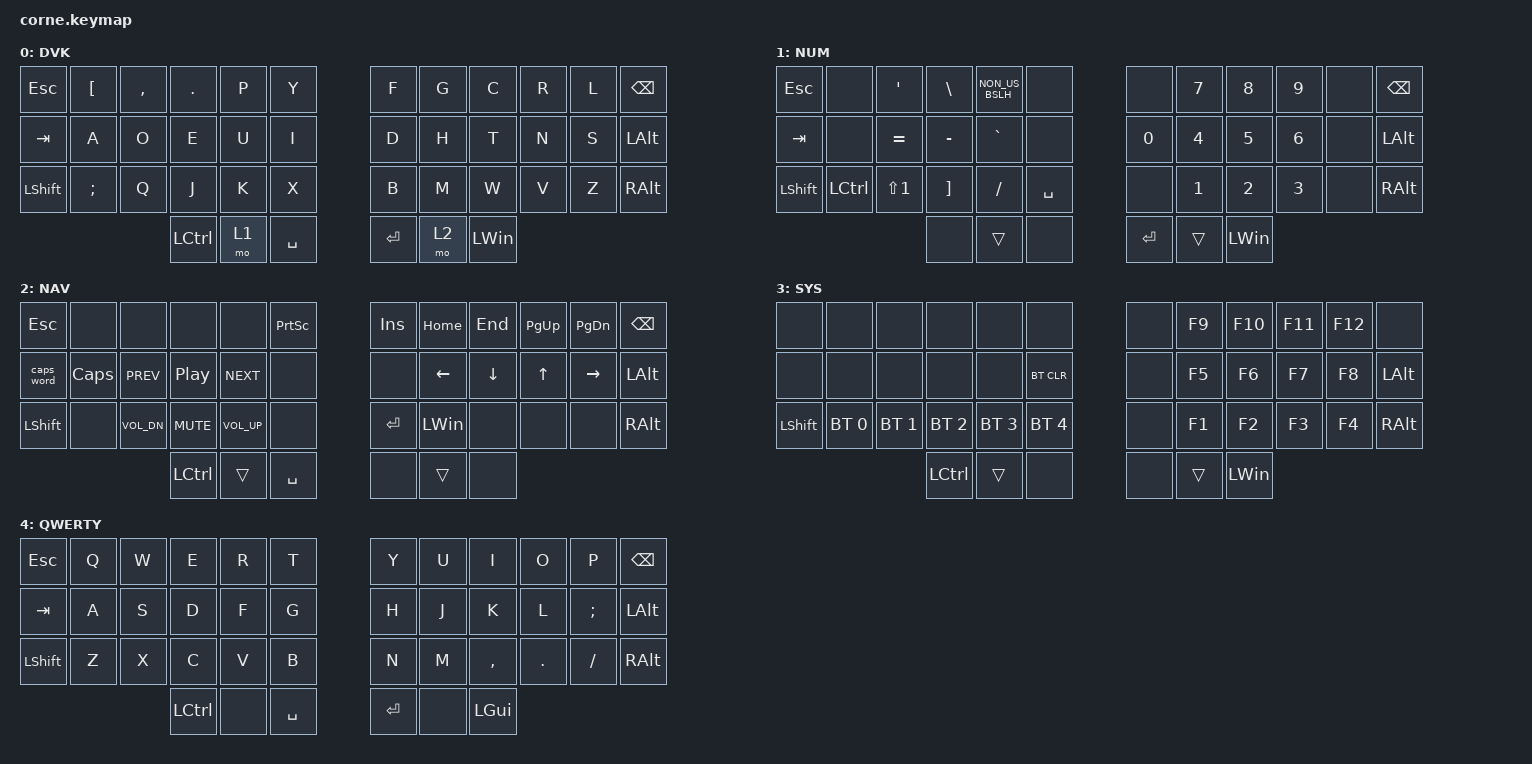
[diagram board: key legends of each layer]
/*
 * Copyright (c) 2020 The ZMK Contributors
 *
 * SPDX-License-Identifier: MIT
 */

#include <behaviors.dtsi>
#include <dt-bindings/zmk/bt.h>
#include <dt-bindings/zmk/keys.h>

/ {
    macros {
        backtick_macro: backtick_macro {
            compatible = "zmk,behavior-macro";
            #binding-cells = <0>;
            bindings = <&kp RA(BACKSLASH) &kp SPACE>;
            label = "BACKTICK_MACRO";
        };

        potencia_macro: potencia_macro {
            compatible = "zmk,behavior-macro";
            #binding-cells = <0>;
            bindings = <&kp RA(SINGLE_QUOTE) &kp SPACE>;
            label = "POTENCIA_MACRO";
        };
    };

    combos {
        compatible = "zmk,combos";

        RESET_SYS {
            bindings = <&sys_reset>;
            key-positions = <0 11>;
            layers = <3>;
        };

        CLR_ALL_BT {
            bindings = <&bt BT_CLR_ALL>;
            key-positions = <5 6>;
            layers = <3>;
        };

        qwerty {
            bindings = <&to 4>;
            key-positions = <38 39>;
            layers = <3>;
        };

        DVORAK {
            bindings = <&to 0>;
            key-positions = <37 40>;
            layers = <4>;
        };
    };

    keymap {
        compatible = "zmk,keymap";

        Dvorak {
            // -----------------------------------------------------------------------------------------
            // |  TAB |  Q  |  W  |  E  |  R  |  T  |   |  Y  |  U   |  I  |  O  |  P  | BSPC |
            // | CTRL |  A  |  S  |  D  |  F  |  G  |   |  H  |  J   |  K  |  L  |  ;  |  '   |
            // | SHFT |  Z  |  X  |  C  |  V  |  B  |   |  N  |  M   |  ,  |  .  |  /  | ESC  |
            //                    | GUI | LWR | SPC |   | ENT | RSE  | ALT |

            bindings = <
&kp ESCAPE  &kp LEFT_BRACKET  &kp COMMA  &kp DOT    &kp P  &kp Y        &kp F    &kp G  &kp C         &kp R  &kp L  &kp BACKSPACE
&kp TAB     &kp A             &kp O      &kp E      &kp U  &kp I        &kp D    &kp H  &kp T         &kp N  &kp S  &kp LEFT_ALT
&kp LSHFT   &kp SEMI          &kp Q      &kp J      &kp K  &kp X        &kp B    &kp M  &kp W         &kp V  &kp Z  &kp RIGHT_ALT
                                         &kp LCTRL  &mo 1  &kp SPACE    &kp RET  &mo 2  &kp LEFT_WIN
            >;

            label = "DVK";
        };

        numbers {
            // -----------------------------------------------------------------------------------------
            // |  TAB |  1  |  2  |  3  |  4  |  5  |   |  6  |  7  |  8  |  9  |  0  | BSPC |
            // | BTCLR| BT1 | BT2 | BT3 | BT4 | BT5 |   | LFT | DWN |  UP | RGT |     |      |
            // | SHFT |     |     |     |     |     |   |     |     |     |     |     |      |
            //                    | GUI |     | SPC |   | ENT |     | ALT |

            bindings = <
&kp ESCAPE  &none      &kp SQT           &kp BACKSLASH      &kp NON_US_BSLH  &none        &none    &kp N7  &kp N8        &kp N9        &none  &kp BACKSPACE
&kp TAB     &none      &kp EQUAL         &kp MINUS          &kp GRAVE        &none        &kp N0   &kp N4  &kp N5        &kp NUMBER_6  &none  &kp LEFT_ALT
&kp LSHFT   &kp LCTRL  &kp LS(NUMBER_1)  &kp RIGHT_BRACKET  &kp SLASH        &kp SPACE    &none    &kp N1  &kp N2        &kp N3        &none  &kp RIGHT_ALT
                                         &none              &trans           &none        &kp RET  &trans  &kp LEFT_WIN
            >;

            label = "NUM";
        };

        nav_media {
            // -----------------------------------------------------------------------------------------
            // |  TAB |  !  |  @  |  #  |  $  |  %  |   |  ^  |  &  |  *  |  (  |  )  | BSPC |
            // | CTRL |     |     |     |     |     |   |  -  |  =  |  [  |  ]  |  \  |  `   |
            // | SHFT |     |     |     |     |     |   |  _  |  +  |  {  |  }  | "|" |  ~   |
            //                    | GUI |     | SPC |   | ENT |     | ALT |

            bindings = <
&kp ESCAPE  &none         &none         &none             &none            &kp PRINTSCREEN    &kp INS    &kp HOME      &kp END         &kp PAGE_UP   &kp PAGE_DOWN  &kp BACKSPACE
&caps_word  &kp CAPSLOCK  &kp C_PREV    &kp C_PLAY_PAUSE  &kp C_NEXT       &none              &none      &kp LEFT      &kp DOWN_ARROW  &kp UP_ARROW  &kp RIGHT      &kp LEFT_ALT
&kp LSHFT   &none         &kp C_VOL_DN  &kp C_MUTE        &kp C_VOLUME_UP  &none              &kp ENTER  &kp LEFT_WIN  &none           &none         &none          &kp RIGHT_ALT
                                        &kp LCTRL         &trans           &kp SPACE          &none      &trans        &none
            >;

            label = "NAV";
        };

        system {
            bindings = <
&none      &none         &none         &none         &none         &none           &none  &kp F9  &kp F10   &kp F11  &kp F12  &none
&none      &none         &none         &none         &none         &bt BT_CLR      &none  &kp F5  &kp F6    &kp F7   &kp F8   &kp LEFT_ALT
&kp LSHFT  &bt BT_SEL 0  &bt BT_SEL 1  &bt BT_SEL 2  &bt BT_SEL 3  &bt BT_SEL 4    &none  &kp F1  &kp F2    &kp F3   &kp F4   &kp RIGHT_ALT
                                       &kp LCTRL     &trans        &none           &none  &trans  &kp LWIN
            >;

            label = "SYS";
        };

        QWERTY {
            bindings = <
&kp ESC    &kp Q  &kp W  &kp E      &kp R  &kp T        &kp Y      &kp U  &kp I      &kp O    &kp P     &kp BSPC
&kp TAB    &kp A  &kp S  &kp D      &kp F  &kp G        &kp H      &kp J  &kp K      &kp L    &kp SEMI  &kp LALT
&kp LSHFT  &kp Z  &kp X  &kp C      &kp V  &kp B        &kp N      &kp M  &kp COMMA  &kp DOT  &kp FSLH  &kp RALT
                         &kp LCTRL  &none  &kp SPACE    &kp ENTER  &none  &kp LGUI
            >;

            label = "QWERTY";
        };
    };

    conditional_layers {
        compatible = "zmk,conditional-layers";

        bt_f_layer_activate {
            if-layers = <1 2>;
            then-layer = <3>;
        };
    };
};
